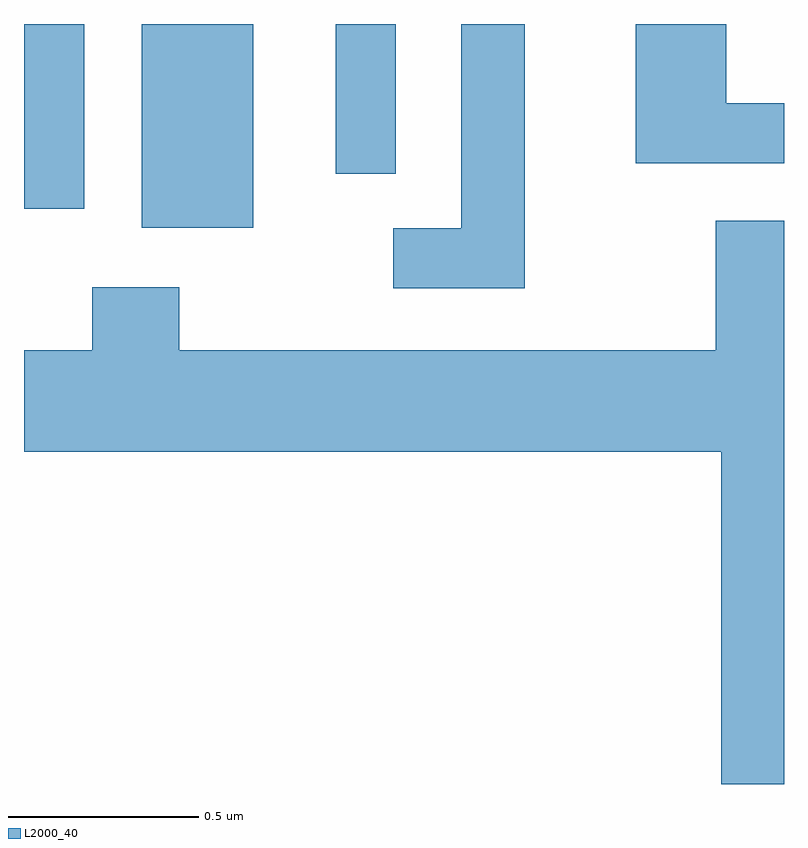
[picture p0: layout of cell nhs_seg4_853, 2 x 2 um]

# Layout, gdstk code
import gdstk
lib = gdstk.Library(unit=1e-6, precision=1e-09)
def R(c, l, rs):  # rectangles x0, y0, x1, y1
    for r in rs: c.add(gdstk.rectangle(r[:2], r[2:], *l))
def P(c, l, *ps):  # polygons
    for p in ps: c.add(gdstk.Polygon(p, *l))
L2000_40 = (2000, 40)

nhs_seg4_853 = lib.new_cell('nhs_seg4_853')
R(nhs_seg4_853, L2000_40, [(191.921,1286.446,192.214,1286.982), (191.611,1286.496,191.769,1286.982), (192.431,1286.588,192.589,1286.982)])
P(nhs_seg4_853, L2000_40, [(193.611,1286.774),(193.459,1286.774),(193.459,1286.982),(193.221,1286.982),(193.221,1286.616),(193.611,1286.616)],
  [(192.929,1286.982),(192.761,1286.982),(192.761,1286.444),(192.583,1286.444),(192.583,1286.286),(192.929,1286.286)],
  [(193.611,1286.464),(193.431,1286.464),(193.431,1286.124),(192.019,1286.124),(192.019,1286.289),(191.791,1286.289),(191.791,1286.124),(191.611,1286.124),(191.611,1285.856),(193.446,1285.856),(193.446,1284.982),(193.611,1284.982)])

lib.write_gds('nhs_seg4_853.gds')
